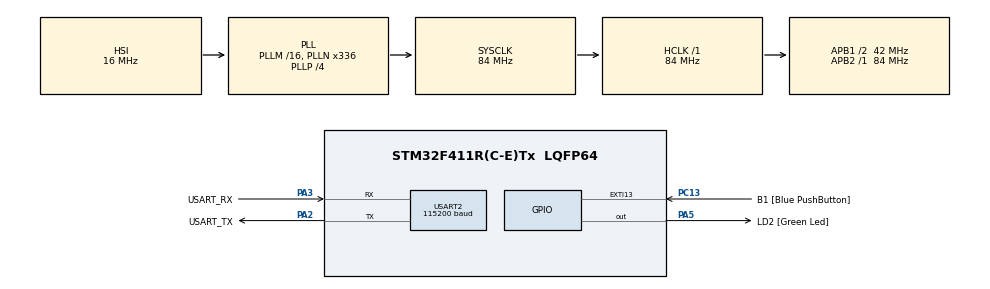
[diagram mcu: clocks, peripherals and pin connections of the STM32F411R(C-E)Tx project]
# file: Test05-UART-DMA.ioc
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Dma.Request0=USART2_RX
Dma.USART2_RX.0.Direction=DMA_PERIPH_TO_MEMORY
Dma.USART2_RX.0.FIFOMode=DMA_FIFOMODE_DISABLE
Dma.USART2_RX.0.Instance=DMA1_Stream5
Dma.USART2_RX.0.MemDataAlignment=DMA_MDATAALIGN_BYTE
Dma.USART2_RX.0.MemInc=DMA_MINC_ENABLE
Dma.USART2_RX.0.Mode=DMA_CIRCULAR
Dma.USART2_RX.0.PeriphDataAlignment=DMA_PDATAALIGN_BYTE
Dma.USART2_RX.0.PeriphInc=DMA_PINC_DISABLE
Dma.USART2_RX.0.Priority=DMA_PRIORITY_LOW
Mcu.Family=STM32F4
Mcu.Name=STM32F411R(C-E)Tx
Mcu.Package=LQFP64
NVIC.DMA1_Stream5_IRQn=true\:0\:0\:false\:false\:true\:false\:true\:true
NVIC.EXTI15_10_IRQn=true\:0\:0\:false\:false\:true\:true\:true\:true
NVIC.PriorityGroup=NVIC_PRIORITYGROUP_0
NVIC.USART2_IRQn=true\:0\:0\:false\:false\:true\:true\:true\:true
PA13.GPIO_Label=TMS
PA13.Mode=Serial_Wire
PA13.Signal=SYS_JTMS-SWDIO
PA14.GPIO_Label=TCK
PA14.Mode=Serial_Wire
PA14.Signal=SYS_JTCK-SWCLK
PA2.GPIO_Label=USART_TX
PA2.Mode=Asynchronous
PA2.Signal=USART2_TX
PA3.GPIO_Label=USART_RX
PA3.Mode=Asynchronous
PA3.Signal=USART2_RX
PA5.GPIO_Label=LD2 [Green Led]
PA5.Signal=GPIO_Output
PB3.GPIO_Label=SWO
PB3.Signal=SYS_JTDO-SWO
PC13-ANTI_TAMP.GPIO_Label=B1 [Blue PushButton]
PC13-ANTI_TAMP.GPIO_ModeDefaultEXTI=GPIO_MODE_IT_FALLING
PC13-ANTI_TAMP.Signal=GPXTI13
PC14-OSC32_IN.Mode=LSE-External-Oscillator
PC14-OSC32_IN.Signal=RCC_OSC32_IN
PC15-OSC32_OUT.Mode=LSE-External-Oscillator
PC15-OSC32_OUT.Signal=RCC_OSC32_OUT
PH0\ -\ OSC_IN.Mode=HSE-External-Clock-Source
PH0\ -\ OSC_IN.Signal=RCC_OSC_IN
PH1\ -\ OSC_OUT.Mode=HSE-External-Clock-Source
PH1\ -\ OSC_OUT.Signal=RCC_OSC_OUT
ProjectManager.HeapSize=0x200
ProjectManager.StackSize=0x400
ProjectManager.TargetToolchain=STM32CubeIDE
RCC.48MHZClocksFreq_Value=84000000
RCC.AHBFreq_Value=84000000
RCC.APB1CLKDivider=RCC_HCLK_DIV2
RCC.APB1Freq_Value=42000000
RCC.APB1TimFreq_Value=84000000
RCC.APB2Freq_Value=84000000
RCC.APB2TimFreq_Value=84000000
RCC.CortexFreq_Value=84000000
RCC.FLatency-AdvancedSettings=FLASH_LATENCY_2
RCC.HCLKFreq_Value=84000000
RCC.HSE_VALUE=8000000
RCC.HSI_VALUE=16000000
RCC.PLLN=336
RCC.PLLP=RCC_PLLP_DIV4
RCC.SYSCLKFreq_VALUE=84000000
RCC.SYSCLKSource=RCC_SYSCLKSOURCE_PLLCLK
RCC.VCOOutputFreq_Value=336000000
USART2.BaudRate=115200
USART2.VirtualMode=VM_ASYNC
board=NUCLEO-F411RE

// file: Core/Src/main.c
/* USER CODE BEGIN Header */
/**
  ******************************************************************************
  * @file           : main.c
  * @brief          : Main program body
  ******************************************************************************
  * @attention
  *
  * Copyright (c) 2023 STMicroelectronics.
  * All rights reserved.
  *
  * This software is licensed under terms that can be found in the LICENSE file
  * in the root directory of this software component.
  * If no LICENSE file comes with this software, it is provided AS-IS.
  *
  ******************************************************************************
  */
/* USER CODE END Header */
#include "main.h"

UART_HandleTypeDef huart2;
DMA_HandleTypeDef hdma_usart2_rx;

void SystemClock_Config(void);
static void MX_GPIO_Init(void);
static void MX_DMA_Init(void);
static void MX_USART2_UART_Init(void);

/* USER CODE BEGIN 0 */
//#include "C:\\Users\\HulkL\\STM32CubeIDE\\workspace_1.13.0.new\\Lib\\MyLib.c"   // Absolute path
#include "..\\..\\..\\Lib\\MyLib.c"   // relative path
#define MAX_BUF 70
volatile char buf[MAX_BUF * 2];  // UART DMA buffer (circula)
volatile int head=0, tail=0;

int GetDMAData(char *bb) // copy DMA Buffer to local buffer bb. return read byte length
{
	int ret = 0;
	tail = MAX_BUF - huart2.hdmarx->Instance->NDTR;
	if(head == tail) ret = 0;
	else if(tail > head)  // not overflow
	{
		memcpy(bb, buf + head, tail - head); ret = tail - head;
	}
	else //  head > tail
	{
		memcpy(bb, buf + head, MAX_BUF - head);
		memcpy(bb + MAX_BUF - head, buf, tail);
		ret = MAX_BUF - head + tail;
	}
	head = tail;
	bb[ret] = 0;
	return ret;
}

volatile char bb[100];

void HAL_GPIO_EXTI_Callback(uint16_t GPIO_Pin) // 1. EXTI-13  2. printout UART DMA buffer
{
	//tail = MAX_BUF - huart2.hdmarx->Instance->NDTR;

	if(GPIO_Pin == B1_Pin)
	{
		printf("[DMA_BUF]%s\r\n",buf);
		int n = GetDMAData(bb);  // n: read data length
		if(n) printf("[Receive]%s\r\n", bb);
	}
}
char rx[1];
void HAL_UART_RxCpltCallback(UART_HandleTypeDef *huart)
{
	buf[tail++] = rx[0];
	if(tail == MAX_BUF) tail = 0;
	HAL_UART_Receive_IT(&huart2, rx, 1);
	//tail = MAX_BUF - huart2.hdmarx->Instance->NDTR;
}

void HAL_UARTEx_RxEventCallback(UART_HandleTypeDef *huart, uint16_t Size)
{
	tail = MAX_BUF - huart2.hdmarx->Instance->NDTR;
}

/* USER CODE END 0 */

int main(void)
{

  /* MCU Configuration--------------------------------------------------------*/

  /* Reset of all peripherals, Initializes the Flash interface and the Systick. */
  HAL_Init();

  /* Configure the system clock */
  SystemClock_Config();

  /* Initialize all configured peripherals */
  MX_GPIO_Init();
  MX_DMA_Init();
  MX_USART2_UART_Init();
  /* USER CODE BEGIN 2 */
  HAL_UART_Receive_DMA(&huart2, buf, MAX_BUF);
  //HAL_UART_Receive_IT(&huart2, rx, 1);
  /* USER CODE END 2 */

  /* Infinite loop */
  /* USER CODE BEGIN WHILE */
  printf("Program started......\r\n");
  printf("... UART DMA started....\r\n");
  printf("Press any key in serial terminal ......\r\n");

  while (1)
  {
    /* USER CODE END WHILE */

  }
}

void SystemClock_Config(void)
{
  RCC_OscInitTypeDef RCC_OscInitStruct = {0};
  RCC_ClkInitTypeDef RCC_ClkInitStruct = {0};

  /** Configure the main internal regulator output voltage
  */
  __HAL_RCC_PWR_CLK_ENABLE();
  __HAL_PWR_VOLTAGESCALING_CONFIG(PWR_REGULATOR_VOLTAGE_SCALE1);

  /** Initializes the RCC Oscillators according to the specified parameters
  * in the RCC_OscInitTypeDef structure.
  */
  RCC_OscInitStruct.OscillatorType = RCC_OSCILLATORTYPE_HSI;
  RCC_OscInitStruct.HSIState = RCC_HSI_ON;
  RCC_OscInitStruct.HSICalibrationValue = RCC_HSICALIBRATION_DEFAULT;
  RCC_OscInitStruct.PLL.PLLState = RCC_PLL_ON;
  RCC_OscInitStruct.PLL.PLLSource = RCC_PLLSOURCE_HSI;
  RCC_OscInitStruct.PLL.PLLM = 16;
  RCC_OscInitStruct.PLL.PLLN = 336;
  RCC_OscInitStruct.PLL.PLLP = RCC_PLLP_DIV4;
  RCC_OscInitStruct.PLL.PLLQ = 4;
  if (HAL_RCC_OscConfig(&RCC_OscInitStruct) != HAL_OK)
  {
    Error_Handler();
  }

  /** Initializes the CPU, AHB and APB buses clocks
  */
  RCC_ClkInitStruct.ClockType = RCC_CLOCKTYPE_HCLK|RCC_CLOCKTYPE_SYSCLK
                              |RCC_CLOCKTYPE_PCLK1|RCC_CLOCKTYPE_PCLK2;
  RCC_ClkInitStruct.SYSCLKSource = RCC_SYSCLKSOURCE_PLLCLK;
  RCC_ClkInitStruct.AHBCLKDivider = RCC_SYSCLK_DIV1;
  RCC_ClkInitStruct.APB1CLKDivider = RCC_HCLK_DIV2;
  RCC_ClkInitStruct.APB2CLKDivider = RCC_HCLK_DIV1;

  if (HAL_RCC_ClockConfig(&RCC_ClkInitStruct, FLASH_LATENCY_2) != HAL_OK)
  {
    Error_Handler();
  }
}

static void MX_USART2_UART_Init(void)
{

  huart2.Instance = USART2;
  huart2.Init.BaudRate = 115200;
  huart2.Init.WordLength = UART_WORDLENGTH_8B;
  huart2.Init.StopBits = UART_STOPBITS_1;
  huart2.Init.Parity = UART_PARITY_NONE;
  huart2.Init.Mode = UART_MODE_TX_RX;
  huart2.Init.HwFlowCtl = UART_HWCONTROL_NONE;
  huart2.Init.OverSampling = UART_OVERSAMPLING_16;
  if (HAL_UART_Init(&huart2) != HAL_OK)
  {
    Error_Handler();
  }

}

static void MX_DMA_Init(void)
{

  /* DMA controller clock enable */
  __HAL_RCC_DMA1_CLK_ENABLE();

  /* DMA interrupt init */
  /* DMA1_Stream5_IRQn interrupt configuration */
  HAL_NVIC_SetPriority(DMA1_Stream5_IRQn, 0, 0);
  HAL_NVIC_EnableIRQ(DMA1_Stream5_IRQn);

}

static void MX_GPIO_Init(void)
{
  GPIO_InitTypeDef GPIO_InitStruct = {0};

  /* GPIO Ports Clock Enable */
  __HAL_RCC_GPIOC_CLK_ENABLE();
  __HAL_RCC_GPIOH_CLK_ENABLE();
  __HAL_RCC_GPIOA_CLK_ENABLE();
  __HAL_RCC_GPIOB_CLK_ENABLE();

  /*Configure GPIO pin Output Level */
  HAL_GPIO_WritePin(LD2_GPIO_Port, LD2_Pin, GPIO_PIN_RESET);

  /*Configure GPIO pin : B1_Pin */
  GPIO_InitStruct.Pin = B1_Pin;
  GPIO_InitStruct.Mode = GPIO_MODE_IT_FALLING;
  GPIO_InitStruct.Pull = GPIO_NOPULL;
  HAL_GPIO_Init(B1_GPIO_Port, &GPIO_InitStruct);

  /*Configure GPIO pin : LD2_Pin */
  GPIO_InitStruct.Pin = LD2_Pin;
  GPIO_InitStruct.Mode = GPIO_MODE_OUTPUT_PP;
  GPIO_InitStruct.Pull = GPIO_NOPULL;
  GPIO_InitStruct.Speed = GPIO_SPEED_FREQ_LOW;
  HAL_GPIO_Init(LD2_GPIO_Port, &GPIO_InitStruct);

  /* EXTI interrupt init*/
  HAL_NVIC_SetPriority(EXTI15_10_IRQn, 0, 0);
  HAL_NVIC_EnableIRQ(EXTI15_10_IRQn);

}

void Error_Handler(void)
{
  __disable_irq();
  while (1)
  {
  }
}
